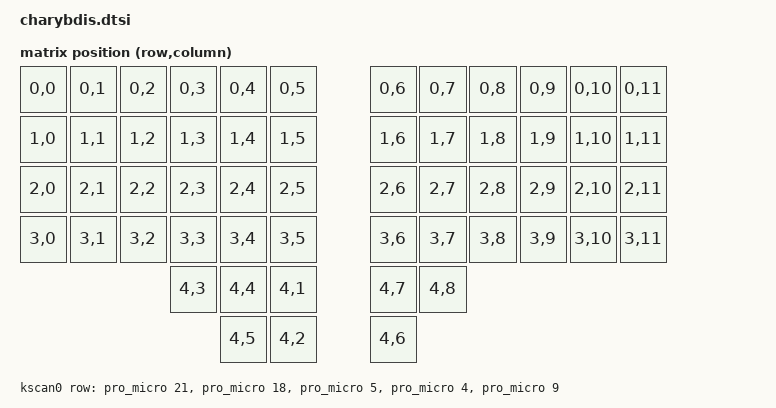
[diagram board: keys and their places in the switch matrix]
#include <dt-bindings/zmk/matrix_transform.h>
#include "charybdis-layouts.dtsi"

/ {
    kscan0: kscan {
        compatible = "zmk,kscan-gpio-matrix";
        diode-direction = "row2col";
        wakeup-source;
	    row-gpios
            = <&pro_micro 21  GPIO_ACTIVE_HIGH>
            , <&pro_micro 18  GPIO_ACTIVE_HIGH>
            , <&pro_micro 5  GPIO_ACTIVE_HIGH>
            , <&pro_micro 4  GPIO_ACTIVE_HIGH>
            , <&pro_micro 9 GPIO_ACTIVE_HIGH>
            ;
    };
    
    mock_kscan: mock_kscan {
        status = "disabled";
        compatible = "zmk,kscan-mock";
        columns = <0>;
        rows = <0>;
        events = <0>;
    };

    chosen: chosen {
        zmk,kscan = &kscan0;
        zmk,physical-layout = &charybdis_physical_layout;
    };
    
    default_transform: keymap_transform_0 {
        compatible = "zmk,matrix-transform";
        columns = <12>;
        rows = <5>;
        map = <
            RC(0,0) RC(0,1) RC(0,2) RC(0,3) RC(0,4) RC(0,5)         RC(0,6)  RC(0,7) RC(0,8) RC(0,9) RC(0,10) RC(0,11)
            RC(1,0) RC(1,1) RC(1,2) RC(1,3) RC(1,4) RC(1,5)         RC(1,6)  RC(1,7) RC(1,8) RC(1,9) RC(1,10) RC(1,11)
            RC(2,0) RC(2,1) RC(2,2) RC(2,3) RC(2,4) RC(2,5)         RC(2,6)  RC(2,7) RC(2,8) RC(2,9) RC(2,10) RC(2,11)
            RC(3,0) RC(3,1) RC(3,2) RC(3,3) RC(3,4) RC(3,5)         RC(3,6)  RC(3,7) RC(3,8) RC(3,9) RC(3,10) RC(3,11)
                                    RC(4,3) RC(4,4) RC(4,1)         RC(4,7)  RC(4,8)
                                            RC(4,5) RC(4,2)         RC(4,6)
        >;
    };
    
    split_inputs {
        #address-cells = <1>;
        #size-cells = <0>;

        trackball_split: trackball_split@0 {
            compatible = "zmk,input-split";
            reg = <0>;
        };
    };

    trackball_listener: trackball_listener {
        compatible = "zmk,input-listener";
        status = "disabled";
        device = <&trackball_split>;
        sniper {
            layers = <4>;
            input-processors = <&zip_xy_scaler 1 4>;
        };
        scroller {
            layers = <5>;
            input-processors = <&zip_xy_to_scroll_mapper>, <&zip_scroll_scaler 1 4>;
            
        };
        input-processors = <&zip_xy_scaler 1 2>;
    };
};
